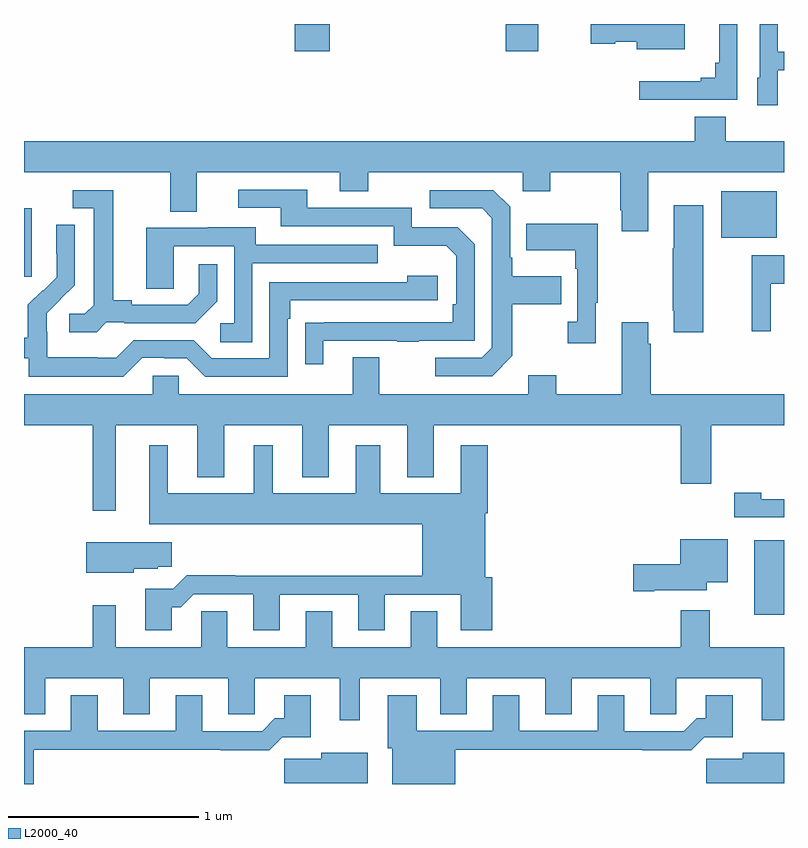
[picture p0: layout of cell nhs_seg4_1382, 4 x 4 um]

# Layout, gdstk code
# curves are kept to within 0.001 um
import gdstk
lib = gdstk.Library(unit=1e-6, precision=1e-09)
def R(c, l, rs):  # rectangles x0, y0, x1, y1
    for r in rs: c.add(gdstk.rectangle(r[:2], r[2:], *l))
def P(c, l, *ps):  # polygons
    for p in ps: c.add(gdstk.Polygon(p, *l))
L2000_40 = (2000, 40)

nhs_seg4_1382 = lib.new_cell('nhs_seg4_1382')
R(nhs_seg4_1382, L2000_40, [(184.844,827.792,185,828.184), (181,829.569,181.042,829.93), (184.67,829.775,184.963,830.02), (182.426,830.757,182.609,830.9), (183.536,830.757,183.706,830.9)])
P(nhs_seg4_1382, L2000_40, [(184.755,830.9),(184.658,830.9),(184.658,830.695),(184.639,830.695),(184.639,830.618),(184.562,830.618),(184.562,830.599),(184.239,830.599),(184.239,830.502),(184.755,830.502)],
  [(184.968,830.657),(185,830.657),(185,830.754),(184.968,830.754),(184.968,830.9),(184.872,830.9),(184.872,830.616),(184.859,830.616),(184.859,830.472),(184.968,830.472)],
  [(184.477,830.9),(183.984,830.9),(183.984,830.795),(184.113,830.795),(184.113,830.807),(184.226,830.807),(184.226,830.768),(184.477,830.768)],
  [(184.285,830.12),(185,830.12),(185,830.284),(184.693,830.284),(184.693,830.413),(184.529,830.413),(184.529,830.284),(181,830.284),(181,830.12),(181.769,830.12),(181.769,829.912),(181.909,829.912),(181.909,830.12),(182.663,830.12),(182.663,830.021),(182.811,830.021),(182.811,830.12),(183.624,830.12),(183.624,830.021),(183.771,830.021),(183.771,830.12),(184.138,830.12),(184.138,829.921),(184.145,829.921),(184.145,829.809),(184.285,829.809)],
  [(182.575,829.233),(182.965,829.233),(182.965,829.228),(183.077,829.228),(183.077,829.233),(183.372,829.233),(183.372,829.74),(183.282,829.83),(183.042,829.83),(183.042,829.932),(182.491,829.932),(182.491,830.028),(182.127,830.028),(182.127,829.932),(182.351,829.932),(182.351,829.836),(182.946,829.836),(182.946,829.733),(183.223,829.733),(183.276,829.68),(183.276,829.426),(183.256,829.426),(183.256,829.329),(182.479,829.328),(182.479,829.11),(182.575,829.11)],
  [(183.571,829.153),(183.571,829.426),(183.827,829.426),(183.827,829.573),(183.571,829.573),(183.571,829.669),(183.558,829.669),(183.558,829.938),(183.471,830.025),(183.135,830.025),(183.135,829.929),(183.411,829.929),(183.462,829.878),(183.462,829.197),(183.408,829.143),(183.165,829.143),(183.165,829.047),(183.465,829.047)],
  [(181.434,829.329),(181.528,829.329),(181.528,829.326),(181.9,829.326),(182.016,829.442),(182.016,829.636),(181.919,829.636),(181.919,829.479),(181.862,829.422),(181.567,829.422),(181.567,829.445),(181.471,829.445),(181.471,830.025),(181.257,830.025),(181.257,829.929),(181.367,829.929),(181.367,829.421),(181.32,829.374),(181.239,829.374),(181.239,829.277),(181.382,829.277)],
  [(184.576,829.945),(184.421,829.945),(184.421,829.721),(184.414,829.721),(184.414,829.39),(184.421,829.39),(184.421,829.278),(184.576,829.278)],
  [(184.009,829.433),(184.021,829.433),(184.021,829.849),(183.643,829.849),(183.643,829.709),(183.9,829.709),(183.9,829.613),(183.912,829.613),(183.912,829.334),(183.861,829.334),(183.861,829.221),(184.009,829.221)],
  [(181.623,829.143),(181.739,829.143),(181.739,829.14),(181.857,829.14),(181.953,829.044),(182.388,829.044),(182.388,829.349),(182.401,829.349),(182.401,829.446),(183.178,829.446),(183.178,829.576),(183.017,829.576),(183.017,829.542),(182.292,829.542),(182.292,829.14),(181.989,829.14),(181.893,829.236),(181.578,829.236),(181.485,829.143),(181.385,829.143),(181.385,829.147),(181.122,829.147),(181.122,829.281),(181.12,829.281),(181.12,829.378),(181.266,829.526),(181.266,829.844),(181.17,829.844),(181.17,829.69),(181.172,829.69),(181.172,829.568),(181.101,829.497),(181.098,829.5),(181.021,829.423),(181.021,829.249),(181,829.249),(181,829.14),(181.026,829.14),(181.026,829.043),(181.523,829.043)],
  [(182.202,829.641),(182.861,829.641),(182.861,829.737),(182.221,829.737),(182.221,829.831),(181.967,829.831),(181.967,829.827),(181.643,829.827),(181.643,829.507),(181.788,829.507),(181.788,829.731),(182.106,829.731),(182.106,829.326),(182.034,829.326),(182.034,829.225),(182.202,829.225)],
  [(184.931,829.532),(185,829.532),(185,829.684),(184.831,829.684),(184.831,829.284),(184.931,829.284)],
  [(181.483,828.788),(181.913,828.788),(181.913,828.515),(182.053,828.515),(182.053,828.788),(182.465,828.788),(182.465,828.515),(182.605,828.515),(182.605,828.788),(183.017,828.788),(183.017,828.515),(183.157,828.515),(183.157,828.788),(184.457,828.788),(184.457,828.48),(184.617,828.48),(184.617,828.788),(185,828.788),(185,828.952),(184.298,828.952),(184.298,829.217),(184.285,829.217),(184.285,829.33),(184.145,829.33),(184.145,828.952),(183.801,828.952),(183.801,829.051),(183.653,829.051),(183.653,828.952),(182.869,828.952),(182.869,829.147),(182.729,829.147),(182.729,828.952),(181.815,828.952),(181.815,829.05),(181.677,829.05),(181.677,828.952),(181,828.952),(181,828.788),(181.362,828.788),(181.362,828.339),(181.483,828.339)],
  [(181.777,827.831),(181.826,827.831),(181.893,827.898),(182.207,827.898),(182.207,827.709),(182.347,827.709),(182.347,827.895),(182.759,827.895),(182.759,827.709),(182.899,827.709),(182.899,827.895),(183.299,827.895),(183.299,827.709),(183.464,827.709),(183.464,827.988),(183.427,827.988),(183.427,828.326),(183.44,828.326),(183.44,828.682),(183.299,828.682),(183.299,828.43),(182.875,828.43),(182.875,828.682),(182.747,828.682),(182.747,828.43),(182.308,828.43),(182.308,828.682),(182.21,828.682),(182.21,828.43),(181.756,828.43),(181.756,828.682),(181.658,828.682),(181.658,828.266),(183.095,828.266),(183.095,827.996),(182.111,827.996),(182.111,827.999),(181.856,827.999),(181.785,827.928),(181.637,827.928),(181.637,827.709),(181.777,827.709)],
  [(185,828.399),(184.881,828.399),(184.881,828.432),(184.737,828.432),(184.737,828.303),(185,828.303)],
  [(184.318,827.921),(184.594,827.921),(184.594,827.963),(184.705,827.963),(184.705,828.187),(184.454,828.187),(184.454,828.056),(184.206,828.056),(184.206,827.914),(184.318,827.914)],
  [(181.578,828.032),(181.704,828.032),(181.704,828.043),(181.777,828.043),(181.777,828.172),(181.328,828.172),(181.328,828.011),(181.578,828.011)],
  [(182.767,827.456),(183.191,827.456),(183.191,827.266),(183.331,827.266),(183.331,827.456),(183.743,827.456),(183.743,827.266),(183.883,827.266),(183.883,827.456),(184.295,827.456),(184.295,827.266),(184.434,827.266),(184.434,827.456),(184.883,827.456),(184.883,827.235),(185,827.235),(185,827.62),(184.609,827.62),(184.609,827.815),(184.457,827.815),(184.457,827.62),(183.175,827.62),(183.175,827.81),(183.035,827.81),(183.035,827.62),(182.623,827.62),(182.623,827.81),(182.483,827.81),(182.483,827.62),(182.071,827.62),(182.071,827.81),(181.932,827.81),(181.932,827.62),(181.483,827.62),(181.483,827.842),(181.362,827.842),(181.362,827.62),(181,827.62),(181,827.266),(181.111,827.266),(181.111,827.456),(181.523,827.456),(181.523,827.266),(181.663,827.266),(181.663,827.456),(182.075,827.456),(182.075,827.266),(182.214,827.266),(182.214,827.456),(182.663,827.456),(182.663,827.235),(182.767,827.235)],
  [(181.051,827.08),(182.035,827.08),(182.035,827.078),(182.291,827.078),(182.36,827.147),(182.509,827.147),(182.509,827.368),(182.369,827.368),(182.369,827.245),(182.32,827.245),(182.253,827.178),(181.939,827.178),(181.939,827.368),(181.799,827.368),(181.799,827.181),(181.387,827.181),(181.387,827.368),(181.247,827.368),(181.247,827.181),(181,827.181),(181,826.9),(181.051,826.9)],
  [(183.271,827.08),(184.255,827.08),(184.255,827.078),(184.511,827.078),(184.58,827.147),(184.729,827.147),(184.729,827.368),(184.589,827.368),(184.589,827.245),(184.54,827.245),(184.473,827.178),(184.159,827.178),(184.159,827.368),(184.019,827.368),(184.019,827.181),(183.607,827.181),(183.607,827.368),(183.467,827.368),(183.467,827.181),(183.067,827.181),(183.067,827.368),(182.915,827.368),(182.915,827.088),(182.939,827.088),(182.939,826.9),(183.271,826.9)],
  [(185,827.065),(184.784,827.065),(184.784,827.033),(184.59,827.033),(184.59,826.904),(185,826.904)],
  [(182.809,827.065),(182.564,827.065),(182.564,827.033),(182.37,827.033),(182.37,826.904),(182.809,826.904)])

lib.write_gds('nhs_seg4_1382.gds')
